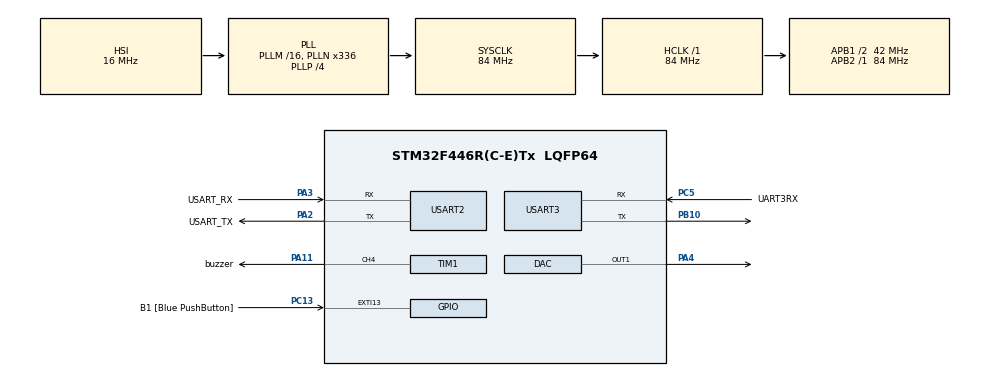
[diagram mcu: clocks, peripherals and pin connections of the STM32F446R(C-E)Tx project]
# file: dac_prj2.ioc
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DAC.DAC_Trigger=DAC_TRIGGER_T6_TRGO
Dma.DAC1.0.Direction=DMA_MEMORY_TO_PERIPH
Dma.DAC1.0.FIFOMode=DMA_FIFOMODE_DISABLE
Dma.DAC1.0.Instance=DMA1_Stream5
Dma.DAC1.0.MemDataAlignment=DMA_MDATAALIGN_WORD
Dma.DAC1.0.MemInc=DMA_MINC_ENABLE
Dma.DAC1.0.Mode=DMA_CIRCULAR
Dma.DAC1.0.PeriphDataAlignment=DMA_PDATAALIGN_WORD
Dma.DAC1.0.PeriphInc=DMA_PINC_DISABLE
Dma.DAC1.0.Priority=DMA_PRIORITY_LOW
Dma.Request0=DAC1
Mcu.Family=STM32F4
Mcu.Name=STM32F446R(C-E)Tx
Mcu.Package=LQFP64
NVIC.DMA1_Stream5_IRQn=true\:0\:0\:false\:false\:true\:false\:true\:true
NVIC.PriorityGroup=NVIC_PRIORITYGROUP_0
NVIC.USART3_IRQn=true\:0\:0\:false\:false\:true\:true\:true\:true
PA11.GPIO_Label=buzzer
PA11.Signal=S_TIM1_CH4
PA13.GPIO_Label=TMS
PA13.Mode=Serial_Wire
PA13.Signal=SYS_JTMS-SWDIO
PA14.GPIO_Label=TCK
PA14.Mode=Serial_Wire
PA14.Signal=SYS_JTCK-SWCLK
PA2.GPIO_Label=USART_TX
PA2.Mode=Asynchronous
PA2.Signal=USART2_TX
PA3.GPIO_Label=USART_RX
PA3.Mode=Asynchronous
PA3.Signal=USART2_RX
PA4.Signal=COMP_DAC1_group
PB10.Mode=Asynchronous
PB10.Signal=USART3_TX
PB3.GPIO_Label=SWO
PB3.Signal=SYS_JTDO-SWO
PC13.GPIO_Label=B1 [Blue PushButton]
PC13.GPIO_ModeDefaultEXTI=GPIO_MODE_IT_FALLING
PC13.Signal=GPXTI13
PC14-OSC32_IN.Mode=LSE-External-Oscillator
PC14-OSC32_IN.Signal=RCC_OSC32_IN
PC15-OSC32_OUT.Mode=LSE-External-Oscillator
PC15-OSC32_OUT.Signal=RCC_OSC32_OUT
PC5.GPIO_Label=UART3RX
PC5.Mode=Asynchronous
PC5.Signal=USART3_RX
PH0-OSC_IN.Mode=HSE-External-Oscillator
PH0-OSC_IN.Signal=RCC_OSC_IN
PH1-OSC_OUT.Mode=HSE-External-Oscillator
PH1-OSC_OUT.Signal=RCC_OSC_OUT
ProjectManager.HeapSize=0x200
ProjectManager.StackSize=0x400
ProjectManager.TargetToolchain=STM32CubeIDE
RCC.48MHZClocksFreq_Value=84000000
RCC.AHBFreq_Value=84000000
RCC.APB1CLKDivider=RCC_HCLK_DIV2
RCC.APB1Freq_Value=42000000
RCC.APB1TimFreq_Value=84000000
RCC.APB2Freq_Value=84000000
RCC.APB2TimFreq_Value=84000000
RCC.CortexFreq_Value=84000000
RCC.FLatency-AdvancedSettings=FLASH_LATENCY_2
RCC.HCLKFreq_Value=84000000
RCC.HSE_VALUE=8000000
RCC.HSI_VALUE=16000000
RCC.PLLN=336
RCC.PLLP=RCC_PLLP_DIV4
RCC.SYSCLKFreq_VALUE=84000000
RCC.SYSCLKSource=RCC_SYSCLKSOURCE_PLLCLK
RCC.USBFreq_Value=168000000
RCC.VCOOutputFreq_Value=336000000
SH.COMP_DAC1_group.0=DAC_OUT1,DAC_OUT1
SH.S_TIM1_CH4.0=TIM1_CH4,PWM Generation4 CH4
TIM1.Channel-PWM\ Generation4\ CH4=TIM_CHANNEL_4
TIM1.Period=1000-1
TIM1.Pulse-PWM\ Generation4\ CH4=500
TIM6.Period=1000-1
TIM6.Prescaler=1
TIM6.TIM_MasterOutputTrigger=TIM_TRGO_UPDATE
USART2.VirtualMode=VM_ASYNC
USART3.VirtualMode=VM_ASYNC
VP_TIM1_VS_ClockSourceINT.Mode=Internal
VP_TIM6_VS_ClockSourceINT.Mode=Enable_Timer
board=NUCLEO-F446RE

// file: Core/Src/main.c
/* USER CODE BEGIN Header */
/**
  ******************************************************************************
  * @file           : main.c
  * @brief          : Main program body
  ******************************************************************************
  * @attention
  *
  * Copyright (c) 2025 STMicroelectronics.
  * All rights reserved.
  *
  * This software is licensed under terms that can be found in the LICENSE file
  * in the root directory of this software component.
  * If no LICENSE file comes with this software, it is provided AS-IS.
  *
  ******************************************************************************
  */
/* USER CODE END Header */
#include "main.h"

/* USER CODE BEGIN Includes */
#include <stdio.h>
#include "math.h"
/* USER CODE END Includes */

DAC_HandleTypeDef hdac;
DMA_HandleTypeDef hdma_dac1;

TIM_HandleTypeDef htim1;
TIM_HandleTypeDef htim6;

UART_HandleTypeDef huart2;
UART_HandleTypeDef huart3;

/* USER CODE BEGIN PV */
#define size 128
uint32_t Ysine[size];
#define PI 3.1415926

#define TIM_FREQ 84000000
#define PSC 1

uint8_t uart_buffer[1];

volatile uint8_t flag_p=0;
volatile uint8_t flag_c=0;
volatile uint8_t flag_j=0;
volatile uint8_t flag_m=0;

volatile uint8_t interrupt_game=0;
volatile char estado='m';

 //SONIDO DE PERDER
 int gameover_melody[]= {
	    392, 329, 261, 220,   // descenso de notas (a la mitad de la frecuencia)
	    174, 146, 130, 110, 0      // pausa final (en un tono grave)
	};
int gameover_duration[]= {
	   200, 200, 200, 200,   // duraciones de notas (descenso rápido)
	    400, 400, 400, 600 };        // pausa final

//MELODÍA GENERAL DEL JUEGO
int game_melody[]= {523, 659, 784, 523, 659, 784, 880, 784, 1046, 880, 784, 659};
int game_duration[]= {400,   200,   200,   200,   200,   200,   200,   200,    200,   200,   200,   400};

//Mordisco
int bite_melody[]= {
	    400, 800, 1200, 600
	};
int bite_duration[]={
	    40, 40, 30, 80
	};

//MENU
int menu_melody[]={220, 261, 329, 196, 175, 293,220, 261, 293, 261, 220, 0};
int menu_duration[]={200, 200, 200, 200, 200, 200,200, 200, 200, 200, 200, 400};

//ganar
int win_melody[]={
	    523, 659, 784, 1047,
	    1047, 784, 659, 523,
	    880, 1047, 1175,1319};
int win_duration[]={
	    150, 150, 150, 200,
	    150, 150, 150, 200,
	    120, 120, 120,300};
//ambos pierden
int lose_melody[]={
   392, 370, 349, 330, 311, 294, // G4 → F#4 → F4 → E4 → D#4 → D4
   262                          // C4 (nota final grave y larga)
};
int lose_duration[]={
	    250, 250, 250, 250, 250, 250,
	    500
	};
/* USER CODE END PV */

void SystemClock_Config(void);
static void MX_GPIO_Init(void);
static void MX_DMA_Init(void);
static void MX_USART2_UART_Init(void);
static void MX_DAC_Init(void);
static void MX_TIM1_Init(void);
static void MX_TIM6_Init(void);
static void MX_USART3_UART_Init(void);
/* USER CODE BEGIN PFP */

//CON TIMERS
//int presForFrequency(int freq);
void playTone(int *tone, int *duration,int *pause, int Nsize);
void noTone(void);

//CON ADC
void generarSin(void);
int calcularARR(int freq);

/* USER CODE END PFP */

/* USER CODE BEGIN 0 */
//Se necesita generar el seno para incluir los valores digitales y así poderlo convertir a analógico
void generarSin(void){
	for (int i=0;i<size;i++){
		Ysine[i]=((sin(i*2*PI/size)+1)*(4096/2));
	}
}
//Se necesita calcular el ARR para las frecuencias de la melodía
int calcularARR(int freq){
	if (freq==0){
		return 0;
	}
	int TF=size*freq;
	return ((TIM_FREQ/((PSC+1)*TF))-1);
}
/*int presForFrequency(int freq){
	if (freq==0){
		return 0;
	return ((TIM_FREQ/(ARR*freq))-1);
	}
}*/

void playTone(int *tone, int *duration,int *pause, int Nsize){
	for(int i=0;i<Nsize;i++){

		if (interrupt_game){//Se utiliza para manejar las interrupciones del cambio de melodías
			noTone();
			break;
		}

		int valorARR=calcularARR(tone[i]);//calcular valor del periodo
		int dur=duration[i];
		int pauseBT=(pause!=NULL)?(pause[i]-duration[i]):0;

		TIM6->ARR=valorARR;
		HAL_Delay(dur);
		noTone();
		HAL_Delay(pauseBT);
	}
}

void noTone(void){
	TIM6->ARR=0;
}

/* USER CODE END 0 */

int main(void)
{

  /* MCU Configuration--------------------------------------------------------*/

  /* Reset of all peripherals, Initializes the Flash interface and the Systick. */
  HAL_Init();

  /* Configure the system clock */
  SystemClock_Config();

  /* Initialize all configured peripherals */
  MX_GPIO_Init();
  MX_DMA_Init();
  MX_USART2_UART_Init();
  MX_DAC_Init();
  MX_TIM1_Init();
  MX_TIM6_Init();
  MX_USART3_UART_Init();
  /* USER CODE BEGIN 2 */
  generarSin();
  HAL_DAC_Init(&hdac);
  HAL_DAC_Start_DMA(&hdac, DAC_CHANNEL_1, Ysine, size, DAC_ALIGN_12B_R);
  HAL_TIM_Base_Start(&htim6);
  HAL_UART_Receive_IT(&huart3, uart_buffer,1);

  /* USER CODE END 2 */

  /* Infinite loop */
  /* USER CODE BEGIN WHILE */
  //playTone(game_melody,game_duration,NULL,(sizeof(game_melody)/sizeof(game_melody[0])));
  //noTone();
  while (1)
  {
	  if(interrupt_game){
		  interrupt_game=0;
		  noTone();
	  }

	  if(flag_p){
		  flag_p=0;
		  playTone(gameover_melody,gameover_duration,NULL,sizeof(gameover_melody)/sizeof(gameover_melody[0]));
	  }else if (flag_c){
		  flag_c=0;
		  playTone(bite_melody,bite_duration,NULL,sizeof(bite_melody)/sizeof(bite_melody[0]));
	  }else {
		  if(estado=='m'){
			  playTone(menu_melody,menu_duration,NULL,sizeof(menu_melody)/sizeof(menu_melody[0]));
		  }else if (estado=='j'){
			  playTone(game_melody,game_duration,NULL,sizeof(game_melody)/sizeof(game_melody[0]));
		  }else if(estado=='w'){
			  playTone(win_melody,win_duration,NULL,sizeof(win_melody)/sizeof(win_melody[0]));
		  }else if(estado=='l'){
			  playTone(lose_melody,lose_duration,NULL,sizeof(lose_melody)/sizeof(lose_melody[0]));
		  }
	  }

    /* USER CODE END WHILE */

  }
}

void SystemClock_Config(void)
{
  RCC_OscInitTypeDef RCC_OscInitStruct = {0};
  RCC_ClkInitTypeDef RCC_ClkInitStruct = {0};

  /** Configure the main internal regulator output voltage
  */
  __HAL_RCC_PWR_CLK_ENABLE();
  __HAL_PWR_VOLTAGESCALING_CONFIG(PWR_REGULATOR_VOLTAGE_SCALE3);

  /** Initializes the RCC Oscillators according to the specified parameters
  * in the RCC_OscInitTypeDef structure.
  */
  RCC_OscInitStruct.OscillatorType = RCC_OSCILLATORTYPE_HSI;
  RCC_OscInitStruct.HSIState = RCC_HSI_ON;
  RCC_OscInitStruct.HSICalibrationValue = RCC_HSICALIBRATION_DEFAULT;
  RCC_OscInitStruct.PLL.PLLState = RCC_PLL_ON;
  RCC_OscInitStruct.PLL.PLLSource = RCC_PLLSOURCE_HSI;
  RCC_OscInitStruct.PLL.PLLM = 16;
  RCC_OscInitStruct.PLL.PLLN = 336;
  RCC_OscInitStruct.PLL.PLLP = RCC_PLLP_DIV4;
  RCC_OscInitStruct.PLL.PLLQ = 2;
  RCC_OscInitStruct.PLL.PLLR = 2;
  if (HAL_RCC_OscConfig(&RCC_OscInitStruct) != HAL_OK)
  {
    Error_Handler();
  }

  /** Initializes the CPU, AHB and APB buses clocks
  */
  RCC_ClkInitStruct.ClockType = RCC_CLOCKTYPE_HCLK|RCC_CLOCKTYPE_SYSCLK
                              |RCC_CLOCKTYPE_PCLK1|RCC_CLOCKTYPE_PCLK2;
  RCC_ClkInitStruct.SYSCLKSource = RCC_SYSCLKSOURCE_PLLCLK;
  RCC_ClkInitStruct.AHBCLKDivider = RCC_SYSCLK_DIV1;
  RCC_ClkInitStruct.APB1CLKDivider = RCC_HCLK_DIV2;
  RCC_ClkInitStruct.APB2CLKDivider = RCC_HCLK_DIV1;

  if (HAL_RCC_ClockConfig(&RCC_ClkInitStruct, FLASH_LATENCY_2) != HAL_OK)
  {
    Error_Handler();
  }
}

static void MX_DAC_Init(void)
{

  DAC_ChannelConfTypeDef sConfig = {0};

  /** DAC Initialization
  */
  hdac.Instance = DAC;
  if (HAL_DAC_Init(&hdac) != HAL_OK)
  {
    Error_Handler();
  }

  /** DAC channel OUT1 config
  */
  sConfig.DAC_Trigger = DAC_TRIGGER_T6_TRGO;
  sConfig.DAC_OutputBuffer = DAC_OUTPUTBUFFER_ENABLE;
  if (HAL_DAC_ConfigChannel(&hdac, &sConfig, DAC_CHANNEL_1) != HAL_OK)
  {
    Error_Handler();
  }

}

static void MX_TIM1_Init(void)
{

  TIM_ClockConfigTypeDef sClockSourceConfig = {0};
  TIM_MasterConfigTypeDef sMasterConfig = {0};
  TIM_OC_InitTypeDef sConfigOC = {0};
  TIM_BreakDeadTimeConfigTypeDef sBreakDeadTimeConfig = {0};

  htim1.Instance = TIM1;
  htim1.Init.Prescaler = 0;
  htim1.Init.CounterMode = TIM_COUNTERMODE_UP;
  htim1.Init.Period = 1000-1;
  htim1.Init.ClockDivision = TIM_CLOCKDIVISION_DIV1;
  htim1.Init.RepetitionCounter = 0;
  htim1.Init.AutoReloadPreload = TIM_AUTORELOAD_PRELOAD_DISABLE;
  if (HAL_TIM_Base_Init(&htim1) != HAL_OK)
  {
    Error_Handler();
  }
  sClockSourceConfig.ClockSource = TIM_CLOCKSOURCE_INTERNAL;
  if (HAL_TIM_ConfigClockSource(&htim1, &sClockSourceConfig) != HAL_OK)
  {
    Error_Handler();
  }
  if (HAL_TIM_PWM_Init(&htim1) != HAL_OK)
  {
    Error_Handler();
  }
  sMasterConfig.MasterOutputTrigger = TIM_TRGO_RESET;
  sMasterConfig.MasterSlaveMode = TIM_MASTERSLAVEMODE_DISABLE;
  if (HAL_TIMEx_MasterConfigSynchronization(&htim1, &sMasterConfig) != HAL_OK)
  {
    Error_Handler();
  }
  sConfigOC.OCMode = TIM_OCMODE_PWM1;
  sConfigOC.Pulse = 500;
  sConfigOC.OCPolarity = TIM_OCPOLARITY_HIGH;
  sConfigOC.OCFastMode = TIM_OCFAST_DISABLE;
  sConfigOC.OCIdleState = TIM_OCIDLESTATE_RESET;
  sConfigOC.OCNIdleState = TIM_OCNIDLESTATE_RESET;
  if (HAL_TIM_PWM_ConfigChannel(&htim1, &sConfigOC, TIM_CHANNEL_4) != HAL_OK)
  {
    Error_Handler();
  }
  sBreakDeadTimeConfig.OffStateRunMode = TIM_OSSR_DISABLE;
  sBreakDeadTimeConfig.OffStateIDLEMode = TIM_OSSI_DISABLE;
  sBreakDeadTimeConfig.LockLevel = TIM_LOCKLEVEL_OFF;
  sBreakDeadTimeConfig.DeadTime = 0;
  sBreakDeadTimeConfig.BreakState = TIM_BREAK_DISABLE;
  sBreakDeadTimeConfig.BreakPolarity = TIM_BREAKPOLARITY_HIGH;
  sBreakDeadTimeConfig.AutomaticOutput = TIM_AUTOMATICOUTPUT_DISABLE;
  if (HAL_TIMEx_ConfigBreakDeadTime(&htim1, &sBreakDeadTimeConfig) != HAL_OK)
  {
    Error_Handler();
  }
  HAL_TIM_MspPostInit(&htim1);

}

static void MX_TIM6_Init(void)
{

  TIM_MasterConfigTypeDef sMasterConfig = {0};

  htim6.Instance = TIM6;
  htim6.Init.Prescaler = 1;
  htim6.Init.CounterMode = TIM_COUNTERMODE_UP;
  htim6.Init.Period = 1000-1;
  htim6.Init.AutoReloadPreload = TIM_AUTORELOAD_PRELOAD_DISABLE;
  if (HAL_TIM_Base_Init(&htim6) != HAL_OK)
  {
    Error_Handler();
  }
  sMasterConfig.MasterOutputTrigger = TIM_TRGO_UPDATE;
  sMasterConfig.MasterSlaveMode = TIM_MASTERSLAVEMODE_DISABLE;
  if (HAL_TIMEx_MasterConfigSynchronization(&htim6, &sMasterConfig) != HAL_OK)
  {
    Error_Handler();
  }

}

static void MX_USART2_UART_Init(void)
{

  huart2.Instance = USART2;
  huart2.Init.BaudRate = 115200;
  huart2.Init.WordLength = UART_WORDLENGTH_8B;
  huart2.Init.StopBits = UART_STOPBITS_1;
  huart2.Init.Parity = UART_PARITY_NONE;
  huart2.Init.Mode = UART_MODE_TX_RX;
  huart2.Init.HwFlowCtl = UART_HWCONTROL_NONE;
  huart2.Init.OverSampling = UART_OVERSAMPLING_16;
  if (HAL_UART_Init(&huart2) != HAL_OK)
  {
    Error_Handler();
  }

}

static void MX_USART3_UART_Init(void)
{

  huart3.Instance = USART3;
  huart3.Init.BaudRate = 115200;
  huart3.Init.WordLength = UART_WORDLENGTH_8B;
  huart3.Init.StopBits = UART_STOPBITS_1;
  huart3.Init.Parity = UART_PARITY_NONE;
  huart3.Init.Mode = UART_MODE_TX_RX;
  huart3.Init.HwFlowCtl = UART_HWCONTROL_NONE;
  huart3.Init.OverSampling = UART_OVERSAMPLING_16;
  if (HAL_UART_Init(&huart3) != HAL_OK)
  {
    Error_Handler();
  }

}

static void MX_DMA_Init(void)
{

  /* DMA controller clock enable */
  __HAL_RCC_DMA1_CLK_ENABLE();

  /* DMA interrupt init */
  /* DMA1_Stream5_IRQn interrupt configuration */
  HAL_NVIC_SetPriority(DMA1_Stream5_IRQn, 0, 0);
  HAL_NVIC_EnableIRQ(DMA1_Stream5_IRQn);

}

static void MX_GPIO_Init(void)
{
  GPIO_InitTypeDef GPIO_InitStruct = {0};

  /* GPIO Ports Clock Enable */
  __HAL_RCC_GPIOC_CLK_ENABLE();
  __HAL_RCC_GPIOH_CLK_ENABLE();
  __HAL_RCC_GPIOA_CLK_ENABLE();
  __HAL_RCC_GPIOB_CLK_ENABLE();

  /*Configure GPIO pin : B1_Pin */
  GPIO_InitStruct.Pin = B1_Pin;
  GPIO_InitStruct.Mode = GPIO_MODE_IT_FALLING;
  GPIO_InitStruct.Pull = GPIO_NOPULL;
  HAL_GPIO_Init(B1_GPIO_Port, &GPIO_InitStruct);

}

/* USER CODE BEGIN 4 */
void HAL_UART_RxCpltCallback(UART_HandleTypeDef *huart){

	if(uart_buffer[0]=='p'){
		flag_p=1;
		interrupt_game=1;//interrumpe la melodía actual
	}else if (uart_buffer[0]=='c'){
		flag_c=1;
		interrupt_game=1;
	}else if (uart_buffer[0]=='j'){
		estado='j';
		interrupt_game=1;
	}else if (uart_buffer[0]=='m'){
		estado='m';
		interrupt_game=1;
	}else if (uart_buffer[0]=='w'){
		estado='w';// Para mantener en loop la melodía que está sonando
		interrupt_game=1;
	}else if (uart_buffer[0]=='l'){
		estado='l';
		interrupt_game=1;
	}

	 HAL_UART_Receive_IT(&huart3, uart_buffer,1);
}
/* USER CODE END 4 */

void Error_Handler(void)
{
  __disable_irq();
  while (1)
  {
  }
}
